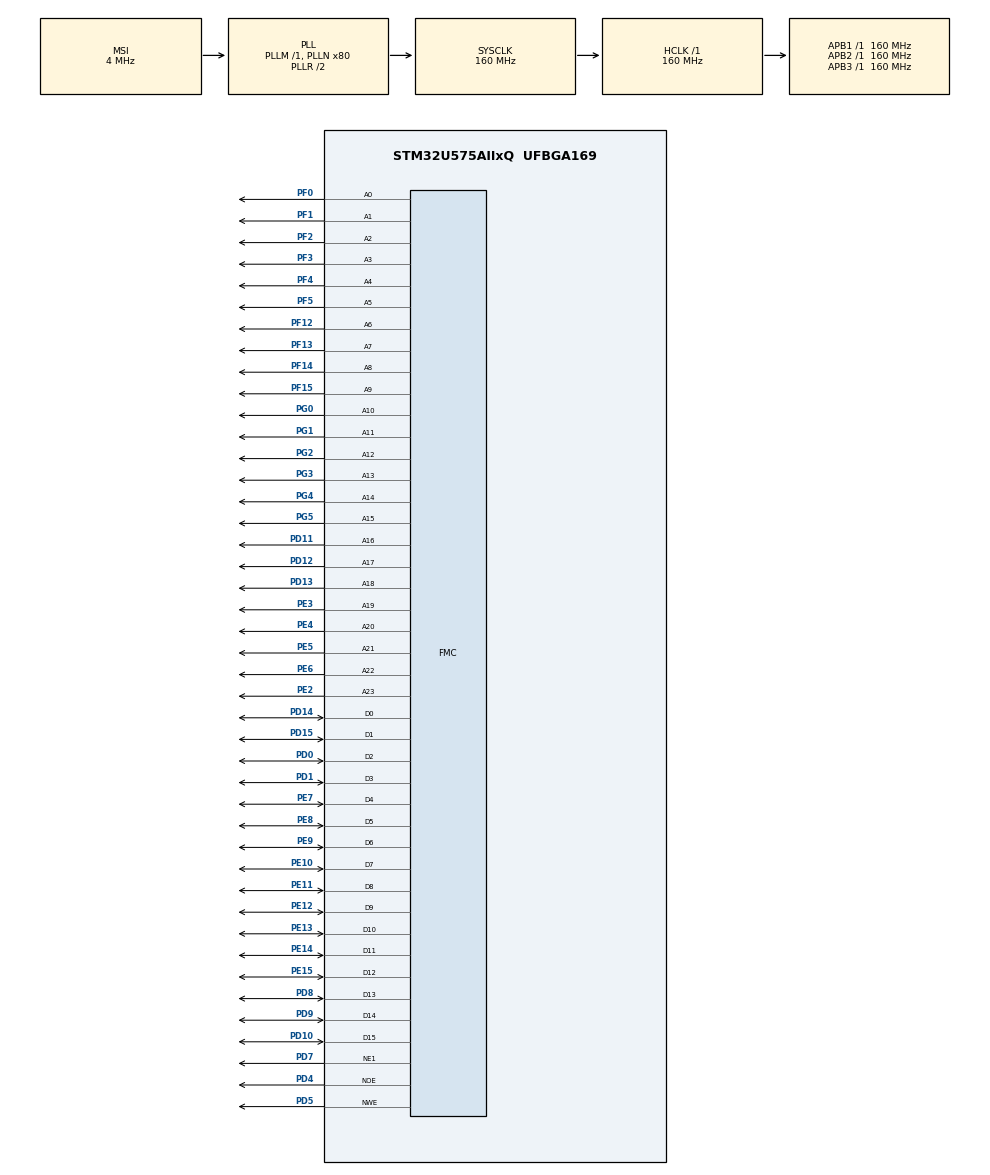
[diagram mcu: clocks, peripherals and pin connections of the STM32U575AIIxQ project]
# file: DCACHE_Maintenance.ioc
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CORTEX_M33_NS.userName=CORTEX_M33
DCACHE1.DCACHE_Read_Burst_Type=DCACHE_READ_BURST_INCR
FMC.AddressSetupTime1=9
FMC.BusTurnAroundDuration1=1
FMC.DataHoldTime1=0
FMC.DataSetupTime1=6
FMC.WriteOperation1=FMC_WRITE_OPERATION_ENABLE
GPDMA1.DESTDATAWIDTH_GPDMACH15=DMA_DEST_DATAWIDTH_WORD
GPDMA1.DESTINC_GPDMACH15=DMA_DINC_INCREMENTED
GPDMA1.PRIORITY_GPDMACH15=DMA_LOW_PRIORITY_HIGH_WEIGHT
GPDMA1.SRCDATAWIDTH_GPDMACH15=DMA_SRC_DATAWIDTH_WORD
GPDMA1.SRCINC_GPDMACH15=DMA_SINC_INCREMENTED
GPDMA1.TRANSFERALLOCATEDPORTDEST_GPDMACH15=DMA_DEST_ALLOCATED_PORT1
Mcu.Family=STM32U5
Mcu.Name=STM32U575AIIxQ
Mcu.Package=UFBGA169
NVIC.GPDMA1_Channel15_IRQn=true\:0\:0\:false\:false\:true\:true\:true\:true
NVIC.PriorityGroup=NVIC_PRIORITYGROUP_4
PD0.Signal=FMC_D2_DA2
PD1.Signal=FMC_D3_DA3
PD10.Signal=FMC_D15_DA15
PD11.Signal=FMC_A16_CLE
PD12.Signal=FMC_A17_ALE
PD13.Signal=FMC_A18
PD14.Signal=FMC_D0_DA0
PD15.Signal=FMC_D1_DA1
PD4.Signal=FMC_NOE
PD5.Signal=FMC_NWE
PD7.Mode=NorPsramChipSelect1_1
PD7.Signal=FMC_NE1
PD8.Signal=FMC_D13_DA13
PD9.Signal=FMC_D14_DA14
PE10.Signal=FMC_D7_DA7
PE11.Signal=FMC_D8_DA8
PE12.Signal=FMC_D9_DA9
PE13.Signal=FMC_D10_DA10
PE14.Signal=FMC_D11_DA11
PE15.Signal=FMC_D12_DA12
PE2.Signal=FMC_A23
PE3.Signal=FMC_A19
PE4.Signal=FMC_A20
PE5.Signal=FMC_A21
PE6.Signal=FMC_A22
PE7.Signal=FMC_D4_DA4
PE8.Signal=FMC_D5_DA5
PE9.Signal=FMC_D6_DA6
PF0.Signal=FMC_A0
PF1.Signal=FMC_A1
PF12.Signal=FMC_A6
PF13.Signal=FMC_A7
PF14.Signal=FMC_A8
PF15.Signal=FMC_A9
PF2.Signal=FMC_A2
PF3.Signal=FMC_A3
PF4.Signal=FMC_A4
PF5.Signal=FMC_A5
PG0.Signal=FMC_A10
PG1.Signal=FMC_A11
PG2.Signal=FMC_A12
PG3.Signal=FMC_A13
PG4.Signal=FMC_A14
PG5.Signal=FMC_A15
PWR.PowerMode=PWR_SMPS_SUPPLY
ProjectManager.HeapSize=0x400
ProjectManager.StackSize=0x2000
ProjectManager.TargetToolchain=EWARM V8.50
RCC.ADCFreq_Value=16000000
RCC.AHBFreq_Value=160000000
RCC.APB1Freq_Value=160000000
RCC.APB1TimFreq_Value=160000000
RCC.APB2Freq_Value=160000000
RCC.APB2TimFreq_Value=160000000
RCC.APB3Freq_Value=160000000
RCC.CortexFreq_Value=160000000
RCC.DACCLockSelectionVirtual=RCC_DAC1CLKSOURCE_LSI
RCC.DACCLockSelectionVirtualString=RCC_DAC1CLKSOURCE_LSI
RCC.EPOD_VALUE=4000000
RCC.HCLKFreq_Value=160000000
RCC.HSE_VALUE=16000000
RCC.HSI48_VALUE=48000000
RCC.HSI_VALUE=16000000
RCC.LSE_VALUE=32768
RCC.LSIDIV_VALUE=32000
RCC.MSI_VALUE=4000000
RCC.PLLN=80
RCC.SYSCLKFreq_VALUE=160000000
RCC.SYSCLKSource=RCC_SYSCLKSOURCE_PLLCLK
RCC.USBFreq_Value=48000000
RCC.VCOOutputFreq_Value=320000000
SH.FMC_A0.0=FMC_A0,24b-a1
SH.FMC_A1.0=FMC_A1,24b-a1
SH.FMC_A10.0=FMC_A10,24b-a1
SH.FMC_A11.0=FMC_A11,24b-a1
SH.FMC_A12.0=FMC_A12,24b-a1
SH.FMC_A13.0=FMC_A13,24b-a1
SH.FMC_A14.0=FMC_A14,24b-a1
SH.FMC_A15.0=FMC_A15,24b-a1
SH.FMC_A16_CLE.0=FMC_A16,24b-a1
SH.FMC_A17_ALE.0=FMC_A17,24b-a1
SH.FMC_A18.0=FMC_A18,24b-a1
SH.FMC_A19.0=FMC_A19,24b-a1
SH.FMC_A2.0=FMC_A2,24b-a1
SH.FMC_A20.0=FMC_A20,24b-a1
SH.FMC_A21.0=FMC_A21,24b-a1
SH.FMC_A22.0=FMC_A22,24b-a1
SH.FMC_A23.0=FMC_A23,24b-a1
SH.FMC_A3.0=FMC_A3,24b-a1
SH.FMC_A4.0=FMC_A4,24b-a1
SH.FMC_A5.0=FMC_A5,24b-a1
SH.FMC_A6.0=FMC_A6,24b-a1
SH.FMC_A7.0=FMC_A7,24b-a1
SH.FMC_A8.0=FMC_A8,24b-a1
SH.FMC_A9.0=FMC_A9,24b-a1
SH.FMC_D0_DA0.0=FMC_D0,16b-d1
SH.FMC_D10_DA10.0=FMC_D10,16b-d1
SH.FMC_D11_DA11.0=FMC_D11,16b-d1
SH.FMC_D12_DA12.0=FMC_D12,16b-d1
SH.FMC_D13_DA13.0=FMC_D13,16b-d1
SH.FMC_D14_DA14.0=FMC_D14,16b-d1
SH.FMC_D15_DA15.0=FMC_D15,16b-d1
SH.FMC_D1_DA1.0=FMC_D1,16b-d1
SH.FMC_D2_DA2.0=FMC_D2,16b-d1
SH.FMC_D3_DA3.0=FMC_D3,16b-d1
SH.FMC_D4_DA4.0=FMC_D4,16b-d1
SH.FMC_D5_DA5.0=FMC_D5,16b-d1
SH.FMC_D6_DA6.0=FMC_D6,16b-d1
SH.FMC_D7_DA7.0=FMC_D7,16b-d1
SH.FMC_D8_DA8.0=FMC_D8,16b-d1
SH.FMC_D9_DA9.0=FMC_D9,16b-d1
SH.FMC_NOE.0=FMC_NOE,Sram1
SH.FMC_NWE.0=FMC_NWE,Sram1
VP_DCACHE1_VS_DCACHE.Mode=DCACHE_Activate
VP_GPDMA1_VS_GPDMACH15.Mode=SIMPLEREQUEST_GPDMACH15
VP_ICACHE_VS_ICACHE.Mode=DirectMappedCache
VP_LPBAMQUEUE_VS_QUEUE.Mode=QUEUEMODE
VP_LPBAM_VS_SIG1.Mode=SmartRun
VP_LPBAM_VS_SIG4.Mode=LPDMA1
VP_PWR_VS_DBSignals.Mode=DisableDeadBatterySignals
VP_PWR_VS_LPOM.Mode=PowerOptimisation
VP_PWR_VS_SECSignals.Mode=Security/Privilege
board=custom

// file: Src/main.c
/* USER CODE BEGIN Header */
/**
  ******************************************************************************
  * @file           : main.c
  * @brief          : Main program body
  ******************************************************************************
  * @attention
  *
  * Copyright (c) 2021 STMicroelectronics.
  * All rights reserved.
  *
  * This software is licensed under terms that can be found in the LICENSE file
  * in the root directory of this software component.
  * If no LICENSE file comes with this software, it is provided AS-IS.
  *
  ******************************************************************************
  */
/* USER CODE END Header */
#include "main.h"

DCACHE_HandleTypeDef hdcache1;

DMA_HandleTypeDef handle_GPDMA1_Channel15;

SRAM_HandleTypeDef hsram1;

/* USER CODE BEGIN PV */
static const uint32_t aSRC_Const_Buffer1[BUFFER_SIZE] =
{
  0x01020304, 0x05060708, 0x090A0B0C, 0x0D0E0F10,  0x11121314, 0x15161718, 0x191A1B1C, 0x1D1E1F20,
  0x21222324, 0x25262728, 0x292A2B2C, 0x2D2E2F30,  0x31323334, 0x35363738, 0x393A3B3C, 0x3D3E3F40,
  0x41424344, 0x45464748, 0x494A4B4C, 0x4D4E4F50,  0x51525354, 0x55565758, 0x595A5B5C, 0x5D5E5F60,
  0x61626364, 0x65666768, 0x696A6B6C, 0x6D6E6F70,  0x71727374, 0x75767778, 0x797A7B7C, 0x7D7E7F80,
  0x01020304, 0x05060708, 0x090A0B0C, 0x0D0E0F10,  0x11121314, 0x15161718, 0x191A1B1C, 0x1D1E1F20,
  0x21222324, 0x25262728, 0x292A2B2C, 0x2D2E2F30,  0x31323334, 0x35363738, 0x393A3B3C, 0x3D3E3F40,
  0x41424344, 0x45464748, 0x494A4B4C, 0x4D4E4F50,  0x51525354, 0x55565758, 0x595A5B5C, 0x5D5E5F60,
  0x61626364, 0x65666768, 0x696A6B6C, 0x6D6E6F70,  0x71727374, 0x75767778, 0x797A7B7C, 0x7D7E7F80,
  0x01020304, 0x05060708, 0x090A0B0C, 0x0D0E0F10,  0x11121314, 0x15161718, 0x191A1B1C, 0x1D1E1F20,
  0x21222324, 0x25262728, 0x292A2B2C, 0x2D2E2F30,  0x31323334, 0x35363738, 0x393A3B3C, 0x3D3E3F40,
  0x41424344, 0x45464748, 0x494A4B4C, 0x4D4E4F50,  0x51525354, 0x55565758, 0x595A5B5C, 0x5D5E5F60,
  0x61626364, 0x65666768, 0x696A6B6C, 0x6D6E6F70,  0x71727374, 0x75767778, 0x797A7B7C, 0x7D7E7F80,
  0x01020304, 0x05060708, 0x090A0B0C, 0x0D0E0F10,  0x11121314, 0x15161718, 0x191A1B1C, 0x1D1E1F20,
  0x21222324, 0x25262728, 0x292A2B2C, 0x2D2E2F30,  0x31323334, 0x35363738, 0x393A3B3C, 0x3D3E3F40,
  0x41424344, 0x45464748, 0x494A4B4C, 0x4D4E4F50,  0x51525354, 0x55565758, 0x595A5B5C, 0x5D5E5F60,
  0x61626364, 0x65666768, 0x696A6B6C, 0x6D6E6F70,  0x71727374, 0x75767778, 0x797A7B7C, 0x7D7E7F80,
  0x01020304, 0x05060708, 0x090A0B0C, 0x0D0E0F10,  0x11121314, 0x15161718, 0x191A1B1C, 0x1D1E1F20,
  0x21222324, 0x25262728, 0x292A2B2C, 0x2D2E2F30,  0x31323334, 0x35363738, 0x393A3B3C, 0x3D3E3F40,
  0x41424344, 0x45464748, 0x494A4B4C, 0x4D4E4F50,  0x51525354, 0x55565758, 0x595A5B5C, 0x5D5E5F60,
  0x61626364, 0x65666768, 0x696A6B6C, 0x6D6E6F70,  0x71727374, 0x75767778, 0x797A7B7C, 0x7D7E7F80
};

/* Allocate Destination Buffer 2 in Non_cacheable memory */
static uint32_t aDST_NonCacheable_Buffer2[BUFFER_SIZE];

#if defined ( __ICCARM__ )
/* Allocate Destination Buffer 1 in cacheable memory */
#pragma location = 0x60000000
#elif defined(__ARMCC_VERSION) ||defined(__GNUC__)
__attribute__((section(".aDST_Buffer1section")))
#endif
static uint32_t aDST_Buffer1[BUFFER_SIZE];

#if defined ( __ICCARM__ )
/* Allocate Source Buffer 2 in cacheable memory */
#pragma location = 0x60100000
#elif defined(__ARMCC_VERSION) ||defined(__GNUC__)
__attribute__((section(".aSRC_Buffer2section")))
#endif
static uint32_t aSRC_Buffer2[BUFFER_SIZE];

static uint32_t i ;
static uint32_t tempValue;
__IO uint32_t j=0;
static __IO uint32_t transferErrorDetected = 0;
static __IO uint32_t transferCompleteDetected = 0;
/* USER CODE END PV */

void SystemClock_Config(void);
static void SystemPower_Config(void);
static void MX_GPIO_Init(void);
static void MX_GPDMA1_Init(void);
static void MX_DCACHE1_Init(void);
static void MX_ICACHE_Init(void);
static void MX_FMC_Init(void);
/* USER CODE BEGIN PFP */
static void HAL_TransferError(DMA_HandleTypeDef *DMAHandle);
static void HAL_TransferComplete(DMA_HandleTypeDef *DMAHandle);
static uint32_t DMA_StartAndCompare(uint32_t* SrcBuffer, uint32_t* DstBuffer, uint32_t BufferLength);
/* USER CODE END PFP */

int main(void)
{

  /* MCU Configuration--------------------------------------------------------*/

  /* Reset of all peripherals, Initializes the Flash interface and the Systick. */
  HAL_Init();

  /* USER CODE BEGIN Init */
#if defined(MPU_WRITE_THROUGH_ATTRIBUTE)
   MPU_Config_WT();
#elif defined(MPU_WRITE_BACK_WRITE_ALLOCATE_ATTRIBUTE)
  MPU_Config_WB_WA();
#endif
  /* USER CODE END Init */

  /* Configure the System Power */
  SystemPower_Config();

  /* Configure the system clock */
  SystemClock_Config();

  /* Initialize all configured peripherals */
  MX_GPIO_Init();
  MX_GPDMA1_Init();
  MX_DCACHE1_Init();
  MX_ICACHE_Init();
  MX_FMC_Init();
  /* USER CODE BEGIN 2 */
  BSP_LED_Init(LED_GREEN);
  BSP_LED_Init(LED_RED);
  /* Configure the user-button in GPIO Mode */
  BSP_PB_Init(BUTTON_USER, BUTTON_MODE_GPIO);

  /* Turn off leds */
  BSP_LED_Off(LED_GREEN);
  BSP_LED_Off(LED_RED);

  /* Initialize buffers */
  memset(aDST_Buffer1, 0x00, BUFFER_SIZE * 4);
  memset(aSRC_Buffer2, 0x00, BUFFER_SIZE * 4);

  /*
   Clean and invalidate operation
   This guarantees that the initialized buffers are loaded into the External SRAM
  */
  HAL_DCACHE_CleanInvalidByAddr(&hdcache1, aDST_Buffer1, BUFFER_SIZE * 4);
  HAL_DCACHE_CleanInvalidByAddr(&hdcache1, aSRC_Buffer2, BUFFER_SIZE * 4);

  /*## -1- DMA Transfer 1: aSRC_Const_Buffer1 (FLASH) --> aDST_Buffer1  (External SRAM) #######*/
  /*###########################################################################################*/

  /* CPU Read access of the Destination Buffer with DCACHE enabled */
  for (i=0; i<BUFFER_SIZE; i++)
  {
    tempValue += aDST_Buffer1[i];
  }

  /* Start the DMA transfer, and compare source and destination buffers */
  if (DMA_StartAndCompare((uint32_t *)aSRC_Const_Buffer1, aDST_Buffer1 , BUFFER_SIZE * 4) != 0)
  {
    /* Wrong Comparison: Turn off LED_GREEN */
    BSP_LED_Off(LED_GREEN);
  }
  else
  {
    /* Right Comparison: Turn on LED_GREEN */
    BSP_LED_On(LED_GREEN);
  }

  /*## -2- DMA Transfer 2: aSRC_Buffer2 (External SRAM) --> aDST_NonCacheable_Buffer2 (Internal SRAM) */
  /*#################################################################################################*/

  /* CPU Write access of the Source Buffer with DCACHE enabled */
  for (i=0; i<BUFFER_SIZE; i++)
  {
    aSRC_Buffer2[i] = i;
  }

  /* Start the DMA transfer, and compare source and destination buffers */
  if (DMA_StartAndCompare(aSRC_Buffer2, aDST_NonCacheable_Buffer2, BUFFER_SIZE * 4) != 0)
  {
    /* Wrong Comparison: Turn off LED_RED */
      BSP_LED_Off(LED_RED);
  }
  else
  {
    /* Right Comparison: Turn on LED_RED */
      BSP_LED_On(LED_RED);
  }

  /*## -3- Wait for User Key press / release  #########################################*/
  /*#####################################################################################*/

  /* Wait for user-button Key press before starting the Cache maintenance */
  while (BSP_PB_GetState(BUTTON_USER) == RESET)
  {
  }

  /* Wait for user-button Key to be released before starting the Cache maintenance */
  while (BSP_PB_GetState(BUTTON_USER) == SET)
  {
  }

  /* Turn off leds */
  BSP_LED_Off(LED_GREEN);
  BSP_LED_Off(LED_RED);

  /*## -4- Do Cache maintenance for Transfer 1  #########################################*/
  /*#####################################################################################*/

  /*
  CPU Data Cache maintenance:
  It is recommended to invalidate the destination buffer in Data cache after a DMA transfer.
  This guarantees up-to-date data when CPU access to the destination buffer located in the
  External SRAM (which is cacheable).
  */

  /* Invalidate aDST_Buffer1 in DCACHE: (BUFFER_SIZE * 4) bytes */
  HAL_DCACHE_InvalidateByAddr(&hdcache1, aDST_Buffer1, BUFFER_SIZE * 4);

  /* Compare Source and Destination buffers */
  if(memcmp(aSRC_Const_Buffer1, aDST_Buffer1, BUFFER_SIZE * 4) != 0)
  {
    /* Wrong Comparison: Turn off LED_GREEN */
    BSP_LED_Off(LED_GREEN);
  }
  else
  {
    /* Right Comparison: Turn on LED_GREEN */
    BSP_LED_On(LED_GREEN);
  }

  /*## -5- Do Cache maintenance for Transfer 2  #########################################*/
  /*#####################################################################################*/

  /*
  CPU Data Cache maintenance:
  It is recommended to clean the source buffer in CPU Data cache before starting
  the DMA transfer. As the source buffer may be used by the CPU and modified
  locally in DCACHE. The cache clean guarantees up-to-date data when DMA accesses
  to the source buffer located in the External SRAM (which is cacheable).
  */

  /* Clean aSRC_Buffer2 in DCACHE: (BUFFER_SIZE * 4) bytes */
  HAL_DCACHE_CleanByAddr(&hdcache1, aSRC_Buffer2, BUFFER_SIZE * 4);

  /* Re-Start the DMA transfer, and compare source and destination buffers */
  if (DMA_StartAndCompare(aSRC_Buffer2, aDST_NonCacheable_Buffer2, BUFFER_SIZE) != 0)
  {
    /* Wrong Comparison: Turn off LED_RED */
    BSP_LED_Off(LED_RED);
  }
  else
  {
    /* Right comparison: Turn on LED_RED */
    BSP_LED_On(LED_RED);
  }
  /* USER CODE END 2 */

  /* Infinite loop */
  while (1)
  {

  }
}

void SystemClock_Config(void)
{
  RCC_OscInitTypeDef RCC_OscInitStruct = {0};
  RCC_ClkInitTypeDef RCC_ClkInitStruct = {0};

  /** Configure the main internal regulator output voltage
  */
  if (HAL_PWREx_ControlVoltageScaling(PWR_REGULATOR_VOLTAGE_SCALE1) != HAL_OK)
  {
    Error_Handler();
  }

  /** Initializes the CPU, AHB and APB buses clocks
  */
  RCC_OscInitStruct.OscillatorType = RCC_OSCILLATORTYPE_MSI;
  RCC_OscInitStruct.MSIState = RCC_MSI_ON;
  RCC_OscInitStruct.MSICalibrationValue = RCC_MSICALIBRATION_DEFAULT;
  RCC_OscInitStruct.MSIClockRange = RCC_MSIRANGE_4;
  RCC_OscInitStruct.PLL.PLLState = RCC_PLL_ON;
  RCC_OscInitStruct.PLL.PLLSource = RCC_PLLSOURCE_MSI;
  RCC_OscInitStruct.PLL.PLLMBOOST = RCC_PLLMBOOST_DIV1;
  RCC_OscInitStruct.PLL.PLLM = 1;
  RCC_OscInitStruct.PLL.PLLN = 80;
  RCC_OscInitStruct.PLL.PLLP = 2;
  RCC_OscInitStruct.PLL.PLLQ = 2;
  RCC_OscInitStruct.PLL.PLLR = 2;
  RCC_OscInitStruct.PLL.PLLRGE = RCC_PLLVCIRANGE_0;
  RCC_OscInitStruct.PLL.PLLFRACN = 0;
  if (HAL_RCC_OscConfig(&RCC_OscInitStruct) != HAL_OK)
  {
    Error_Handler();
  }

  /** Initializes the CPU, AHB and APB buses clocks
  */
  RCC_ClkInitStruct.ClockType = RCC_CLOCKTYPE_HCLK|RCC_CLOCKTYPE_SYSCLK
                              |RCC_CLOCKTYPE_PCLK1|RCC_CLOCKTYPE_PCLK2
                              |RCC_CLOCKTYPE_PCLK3;
  RCC_ClkInitStruct.SYSCLKSource = RCC_SYSCLKSOURCE_PLLCLK;
  RCC_ClkInitStruct.AHBCLKDivider = RCC_SYSCLK_DIV1;
  RCC_ClkInitStruct.APB1CLKDivider = RCC_HCLK_DIV1;
  RCC_ClkInitStruct.APB2CLKDivider = RCC_HCLK_DIV1;
  RCC_ClkInitStruct.APB3CLKDivider = RCC_HCLK_DIV1;

  if (HAL_RCC_ClockConfig(&RCC_ClkInitStruct, FLASH_LATENCY_4) != HAL_OK)
  {
    Error_Handler();
  }
}

/**
  * @brief Power Configuration
  * @retval None
  */
static void SystemPower_Config(void)
{
  HAL_PWREx_EnableVddIO2();

  /*
   * Disable the internal Pull-Up in Dead Battery pins of UCPD peripheral
   */
  HAL_PWREx_DisableUCPDDeadBattery();

  /*
   * Switch to SMPS regulator instead of LDO
   */
  if (HAL_PWREx_ConfigSupply(PWR_SMPS_SUPPLY) != HAL_OK)
  {
    Error_Handler();
  }
}

static void MX_DCACHE1_Init(void)
{

  hdcache1.Instance = DCACHE1;
  hdcache1.Init.ReadBurstType = DCACHE_READ_BURST_INCR;
  if (HAL_DCACHE_Init(&hdcache1) != HAL_OK)
  {
    Error_Handler();
  }

}

static void MX_GPDMA1_Init(void)
{

  /* Peripheral clock enable */
  __HAL_RCC_GPDMA1_CLK_ENABLE();

  /* GPDMA1 interrupt Init */
    HAL_NVIC_SetPriority(GPDMA1_Channel15_IRQn, 0, 0);
    HAL_NVIC_EnableIRQ(GPDMA1_Channel15_IRQn);

  handle_GPDMA1_Channel15.Instance = GPDMA1_Channel15;
  handle_GPDMA1_Channel15.Init.Request = DMA_REQUEST_SW;
  handle_GPDMA1_Channel15.Init.BlkHWRequest = DMA_BREQ_SINGLE_BURST;
  handle_GPDMA1_Channel15.Init.Direction = DMA_MEMORY_TO_MEMORY;
  handle_GPDMA1_Channel15.Init.SrcInc = DMA_SINC_INCREMENTED;
  handle_GPDMA1_Channel15.Init.DestInc = DMA_DINC_INCREMENTED;
  handle_GPDMA1_Channel15.Init.SrcDataWidth = DMA_SRC_DATAWIDTH_WORD;
  handle_GPDMA1_Channel15.Init.DestDataWidth = DMA_DEST_DATAWIDTH_WORD;
  handle_GPDMA1_Channel15.Init.Priority = DMA_LOW_PRIORITY_HIGH_WEIGHT;
  handle_GPDMA1_Channel15.Init.SrcBurstLength = 1;
  handle_GPDMA1_Channel15.Init.DestBurstLength = 1;
  handle_GPDMA1_Channel15.Init.TransferAllocatedPort = DMA_SRC_ALLOCATED_PORT0|DMA_DEST_ALLOCATED_PORT1;
  handle_GPDMA1_Channel15.Init.TransferEventMode = DMA_TCEM_BLOCK_TRANSFER;
  handle_GPDMA1_Channel15.Init.Mode = DMA_NORMAL;
  if (HAL_DMA_Init(&handle_GPDMA1_Channel15) != HAL_OK)
  {
    Error_Handler();
  }
  if (HAL_DMA_ConfigChannelAttributes(&handle_GPDMA1_Channel15, DMA_CHANNEL_NPRIV) != HAL_OK)
  {
    Error_Handler();
  }
  /* USER CODE BEGIN GPDMA1_Init 2 */
  HAL_DMA_RegisterCallback(&handle_GPDMA1_Channel15, HAL_DMA_XFER_CPLT_CB_ID, HAL_TransferComplete);
  HAL_DMA_RegisterCallback(&handle_GPDMA1_Channel15, HAL_DMA_XFER_ERROR_CB_ID, HAL_TransferError);
  /* USER CODE END GPDMA1_Init 2 */

}

static void MX_ICACHE_Init(void)
{

  /** Enable instruction cache in 1-way (direct mapped cache)
  */
  if (HAL_ICACHE_ConfigAssociativityMode(ICACHE_1WAY) != HAL_OK)
  {
    Error_Handler();
  }
  if (HAL_ICACHE_Enable() != HAL_OK)
  {
    Error_Handler();
  }

}

/* FMC initialization function */
static void MX_FMC_Init(void)
{

  FMC_NORSRAM_TimingTypeDef Timing = {0};

  /** Perform the SRAM1 memory initialization sequence
  */
  hsram1.Instance = FMC_NORSRAM_DEVICE;
  hsram1.Extended = FMC_NORSRAM_EXTENDED_DEVICE;
  /* hsram1.Init */
  hsram1.Init.NSBank = FMC_NORSRAM_BANK1;
  hsram1.Init.DataAddressMux = FMC_DATA_ADDRESS_MUX_DISABLE;
  hsram1.Init.MemoryType = FMC_MEMORY_TYPE_SRAM;
  hsram1.Init.MemoryDataWidth = FMC_NORSRAM_MEM_BUS_WIDTH_16;
  hsram1.Init.BurstAccessMode = FMC_BURST_ACCESS_MODE_DISABLE;
  hsram1.Init.WaitSignalPolarity = FMC_WAIT_SIGNAL_POLARITY_LOW;
  hsram1.Init.WaitSignalActive = FMC_WAIT_TIMING_BEFORE_WS;
  hsram1.Init.WriteOperation = FMC_WRITE_OPERATION_ENABLE;
  hsram1.Init.WaitSignal = FMC_WAIT_SIGNAL_DISABLE;
  hsram1.Init.ExtendedMode = FMC_EXTENDED_MODE_DISABLE;
  hsram1.Init.AsynchronousWait = FMC_ASYNCHRONOUS_WAIT_DISABLE;
  hsram1.Init.WriteBurst = FMC_WRITE_BURST_DISABLE;
  hsram1.Init.ContinuousClock = FMC_CONTINUOUS_CLOCK_SYNC_ONLY;
  hsram1.Init.WriteFifo = FMC_WRITE_FIFO_ENABLE;
  hsram1.Init.NBLSetupTime = 0;
  hsram1.Init.PageSize = FMC_PAGE_SIZE_NONE;
  hsram1.Init.MaxChipSelectPulse = DISABLE;
  /* Timing */
  Timing.AddressSetupTime = 9;
  Timing.AddressHoldTime = 15;
  Timing.DataSetupTime = 6;
  Timing.DataHoldTime = 0;
  Timing.BusTurnAroundDuration = 1;
  Timing.CLKDivision = 16;
  Timing.DataLatency = 17;
  Timing.AccessMode = FMC_ACCESS_MODE_A;
  /* ExtTiming */

  if (HAL_SRAM_Init(&hsram1, &Timing, NULL) != HAL_OK)
  {
    Error_Handler( );
  }

}

static void MX_GPIO_Init(void)
{

  /* GPIO Ports Clock Enable */
  __HAL_RCC_GPIOE_CLK_ENABLE();
  __HAL_RCC_GPIOD_CLK_ENABLE();
  __HAL_RCC_GPIOF_CLK_ENABLE();
  __HAL_RCC_GPIOG_CLK_ENABLE();

}

/* USER CODE BEGIN 4 */
/**
  * @brief  Configure the MPU attributes as Write Through for external SRAM.
  * @note   The external SRAM Base Address is 0x60000000.
  *         The Configured Region Size is 512 KB, as it corresponds to the size of Bank1
  *         of the external SRAM.
  * @param  None
  * @retval None
  */
void MPU_Config_WT(void)
{
  MPU_Attributes_InitTypeDef   attr;
  MPU_Region_InitTypeDef       region;

  /* Disable MPU before perloading and config update */
  HAL_MPU_Disable();

  /* Define cacheable memory via MPU */
  attr.Number             = MPU_ATTRIBUTES_NUMBER0;
  attr.Attributes         = MPU_NOT_CACHEABLE | OUTER(MPU_WRITE_THROUGH | MPU_TRANSIENT | MPU_R_ALLOCATE);
  HAL_MPU_ConfigMemoryAttributes(&attr);

  /* BaseAddress-LimitAddress configuration */
  region.Enable           = MPU_REGION_ENABLE;
  region.Number           = MPU_REGION_NUMBER0;
  region.AttributesIndex  = MPU_ATTRIBUTES_NUMBER0;
  region.BaseAddress      = FMC_BANK1_1;
  region.LimitAddress     = FMC_BANK1_1 + REGION_SIZE - 1;
  region.AccessPermission = MPU_REGION_ALL_RW;
  region.DisableExec      = MPU_INSTRUCTION_ACCESS_ENABLE;
  region.IsShareable      = MPU_ACCESS_NOT_SHAREABLE;
  HAL_MPU_ConfigRegion(&region);

  /* Enable the MPU */
  HAL_MPU_Enable(MPU_PRIVILEGED_DEFAULT);
}

/**
  * @brief  Configure the MPU attributes as Write Back - Write Allocate for External SRAM.
  * @note   The external SRAM Base Address is 0x60000000.
  *         The Configured Region Size is 512 KB, as it corresponds to the size of Bank1
  *         of the external SRAM.
  * @param  None
  * @retval None
  */
void MPU_Config_WB_WA(void)
{
  MPU_Attributes_InitTypeDef   attr;
  MPU_Region_InitTypeDef       region;

  /* Disable MPU before perloading and config update */
  HAL_MPU_Disable();

  /* Define cacheable memory via MPU */
  attr.Number             = MPU_ATTRIBUTES_NUMBER0;
  attr.Attributes         = MPU_NOT_CACHEABLE | OUTER(MPU_WRITE_BACK | MPU_TRANSIENT | MPU_W_ALLOCATE | MPU_R_ALLOCATE);
  HAL_MPU_ConfigMemoryAttributes(&attr);

  /* BaseAddress-LimitAddress configuration */
  region.Enable           = MPU_REGION_ENABLE;
  region.Number           = MPU_REGION_NUMBER0;
  region.AttributesIndex  = MPU_ATTRIBUTES_NUMBER0;
  region.BaseAddress      = FMC_BANK1_1;
  region.LimitAddress     = FMC_BANK1_1 + REGION_SIZE - 1;
  region.AccessPermission = MPU_REGION_ALL_RW;
  region.DisableExec      = MPU_INSTRUCTION_ACCESS_ENABLE;
  region.IsShareable      = MPU_ACCESS_NOT_SHAREABLE;
  HAL_MPU_ConfigRegion(&region);

  /* Enable the MPU */
  HAL_MPU_Enable(MPU_PRIVILEGED_DEFAULT);
}

/**
  * @brief  Start the DMA Transfer and compares source and destination buffers
  * @note  This function is used to :
  *        -1- Reset transfer variables
  *        -2- Start the DMA transfer using the interrupt mode
  *        -3- wait until DMA transfer complete or transfer error
  *        -4- Turn LED_ORANGE on in case of DMA transfer error
  *        -5- Compare Source and Destination buffers
  * @param  SrcBuffer: The source memory Buffer address
  * @param  DstBuffer: The destination memory Buffer address
  * @param  BuuferLength: The length of data to be transferred from source to destination
  * @retval Status (0 or 1)
  */
static uint32_t DMA_StartAndCompare(uint32_t* SrcBuffer, uint32_t* DstBuffer, uint32_t BufferLength)
{
  /* Reset transfer variables */
  transferCompleteDetected = 0;
  transferErrorDetected    = 0;

  /* Start the DMA transfer */
  if (HAL_DMA_Start_IT(&handle_GPDMA1_Channel15, (uint32_t)SrcBuffer, (uint32_t)DstBuffer, BufferLength) != HAL_OK)
  {
    /* Transfer Error */
    Error_Handler();
  }

  while ((transferCompleteDetected == 0) && (transferErrorDetected == 0))
  {
    /* wait until DMA transfer complete or transfer error */
  }

  if (transferErrorDetected == 1)
  {
    /* DMA transfer error */
    return 1;
  }

  /* Compare Source and Destination buffers */
  if(memcmp(SrcBuffer, DstBuffer, BufferLength) != 0)
  {
    /* Wrong comparison */
    return 1;
  }
  else
  {
    /* Right comparison */
    return 0;
  }
}
/**
  * @brief  DMA conversion complete callback
  * @note   This function is executed when the transfer complete interrupt
  *         is generated
  * @retval None
  */
static void  HAL_TransferComplete(DMA_HandleTypeDef *DMAHandle)
{
  transferCompleteDetected = 1;
}

/**
  * @brief  DMA conversion error callback
  * @note   This function is executed when the transfer error interrupt
  *         is generated during DMA transfer
  * @retval None
  */
static void HAL_TransferError(DMA_HandleTypeDef *DMAHandle)
{
  transferErrorDetected = 1;
}
/* USER CODE END 4 */

void Error_Handler(void)
{
  __disable_irq();
  while (1)
  {
  }
}
